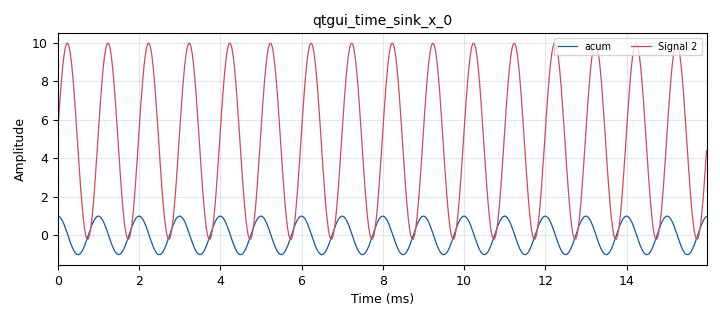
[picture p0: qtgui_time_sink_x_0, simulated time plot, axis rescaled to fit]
options:
  parameters:
    generate_options: qt_gui
    id: Acum
    output_language: python
  states: {}

blocks:
- name: samp_rate
  id: variable
  parameters:
    value: '32000'
  states: {}
- name: analog_sig_source_x_0
  id: analog_sig_source_x
  parameters:
    amp: '1'
    freq: '1000'
    offset: '0'
    phase: '0'
    samp_rate: samp_rate
    type: float
    waveform: analog.GR_COS_WAVE
  states: {}
- name: blocks_throttle2_0
  id: blocks_throttle2
  parameters:
    samples_per_second: samp_rate
    type: float
  states: {}
- name: epy_block_0
  id: epy_block
  parameters:
    _source_code: |-
      """
      Embedded Python Blocks:

      Each time this file is saved, GRC will instantiate the first class it finds
      to get ports and parameters of your block. The arguments to __init__  will
      be the parameters. All of them are required to have default values!
      """

      import numpy as np
      from gnuradio import gr


      class blk(gr.sync_block):  # other base classes are basic_block, decim_block, interp_block
          """Embedded Python Block example - a simple multiply const"""
          
          def __init__(self):
              gr.sync_block.__init__(
                  self,
                  name='e_Acum',
                  in_sig=[np.float32],
                  out_sig=[np.float32]
              )

          def work(self, input_items, output_items):

              x=input_items[0]
              y0=output_items[0]
              y0[:]=np.cumsum(x)
              return len(y0)
  states: {}
- name: qtgui_sink_x_0
  id: qtgui_sink_x
  parameters:
    bw: samp_rate
    fc: '0'
    fftsize: '1024'
    type: float
  states: {state: disabled}
- name: qtgui_time_sink_x_0
  id: qtgui_time_sink_x
  parameters:
    label1: acum
    nconnections: '2'
    size: '512'
    srate: samp_rate
    type: float
  states: {}

connections:
- [analog_sig_source_x_0, '0', epy_block_0, '0']
- [analog_sig_source_x_0, '0', qtgui_time_sink_x_0, '0']
- [blocks_throttle2_0, '0', qtgui_sink_x_0, '0']
- [blocks_throttle2_0, '0', qtgui_time_sink_x_0, '1']
- [epy_block_0, '0', blocks_throttle2_0, '0']

metadata:
  file_format: 1
  grc_version: v3.10.11.0-89-ga17f69e7
